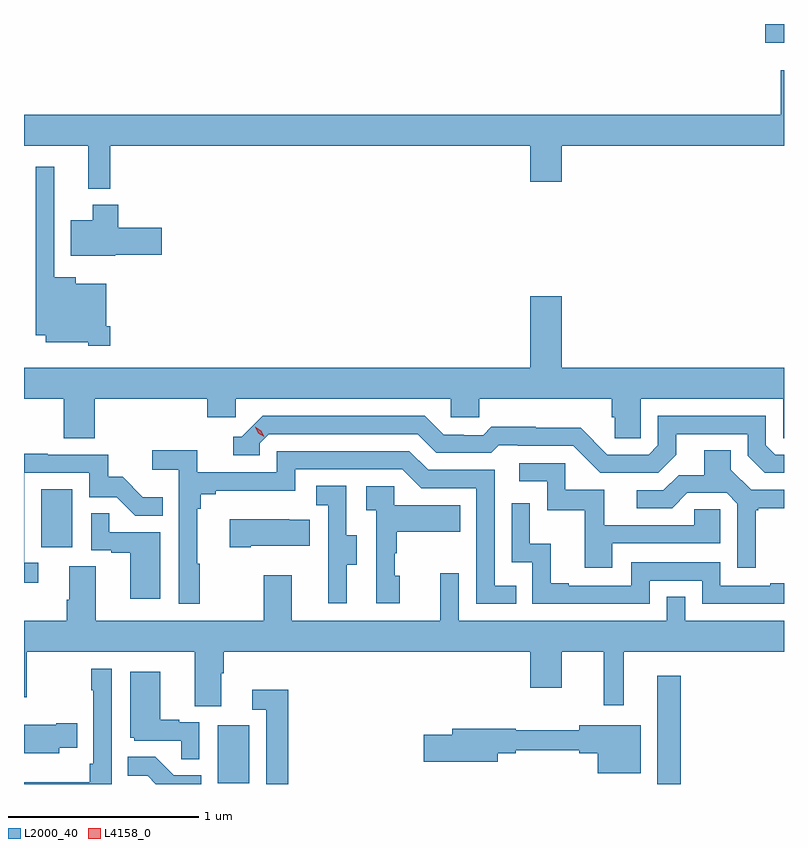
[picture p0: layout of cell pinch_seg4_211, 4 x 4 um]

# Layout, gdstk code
import gdstk
lib = gdstk.Library(unit=1e-6, precision=1e-09)
def R(c, l, rs):  # rectangles x0, y0, x1, y1
    for r in rs: c.add(gdstk.rectangle(r[:2], r[2:], *l))
def P(c, l, *ps):  # polygons
    for p in ps: c.add(gdstk.Polygon(p, *l))
L2000_40 = (2000, 40)
L4158_0 = (4158, 0)

pinch_seg4_211 = lib.new_cell('pinch_seg4_211')
R(pinch_seg4_211, L2000_40, [(1004.837,818.769,1004.959,819.34), (1002.524,818.772,1002.688,819.079), (1001.594,820.014,1001.758,820.321), (1005.404,822.671,1005.503,822.769)])
P(pinch_seg4_211, L2000_40, [(1001.957,822.128),(1004.168,822.128),(1004.168,821.94),(1004.332,821.94),(1004.332,822.128),(1005.503,822.128),(1005.503,822.526),(1005.487,822.526),(1005.487,822.292),(1001.503,822.292),(1001.503,822.128),(1001.84,822.128),(1001.84,821.903),(1001.957,821.903)],
  [(1001.957,821.179),(1001.935,821.179),(1001.935,821.401),(1001.776,821.401),(1001.776,821.437),(1001.661,821.437),(1001.661,822.019),(1001.564,822.019),(1001.564,821.132),(1001.618,821.132),(1001.618,821.093),(1001.841,821.093),(1001.841,821.075),(1001.957,821.075)],
  [(1001.982,821.555),(1002.229,821.555),(1002.229,821.697),(1001.999,821.697),(1001.999,821.818),(1001.864,821.818),(1001.864,821.737),(1001.75,821.737),(1001.75,821.549),(1001.982,821.549)],
  [(1001.876,820.796),(1002.467,820.796),(1002.467,820.698),(1002.618,820.698),(1002.618,820.796),(1003.749,820.796),(1003.749,820.698),(1003.899,820.698),(1003.899,820.796),(1004.597,820.796),(1004.597,820.698),(1004.611,820.698),(1004.611,820.588),(1004.748,820.588),(1004.748,820.796),(1005.498,820.796),(1005.498,820.588),(1005.503,820.588),(1005.503,820.96),(1004.332,820.96),(1004.332,821.335),(1004.168,821.335),(1004.168,820.96),(1001.503,820.96),(1001.503,820.796),(1001.711,820.796),(1001.711,820.588),(1001.876,820.588)],
  [(1004.935,820.501),(1004.935,820.611),(1005.312,820.611),(1005.312,820.497),(1005.402,820.407),(1005.503,820.407),(1005.503,820.503),(1005.456,820.503),(1005.408,820.551),(1005.408,820.707),(1004.838,820.707),(1004.838,820.551),(1004.79,820.503),(1004.574,820.503),(1004.432,820.645),(1004.196,820.645),(1004.196,820.648),(1003.963,820.648),(1003.921,820.605),(1003.818,820.605),(1003.818,820.608),(1003.711,820.608),(1003.612,820.707),(1002.759,820.707),(1002.648,820.596),(1002.605,820.596),(1002.605,820.5),(1002.744,820.5),(1002.744,820.563),(1002.792,820.611),(1003.575,820.611),(1003.674,820.512),(1003.963,820.512),(1004.002,820.551),(1004.101,820.551),(1004.101,820.548),(1004.394,820.548),(1004.535,820.407),(1004.841,820.407)],
  [(1005.355,820.209),(1005.367,820.209),(1005.367,820.22),(1005.503,820.22),(1005.503,820.317),(1005.33,820.317),(1005.223,820.424),(1005.223,820.526),(1005.083,820.526),(1005.083,820.394),(1004.948,820.394),(1004.868,820.314),(1004.727,820.314),(1004.727,820.221),(1004.914,820.221),(1004.995,820.302),(1005.201,820.302),(1005.258,820.245),(1005.258,819.906),(1005.355,819.906)],
  [(1002.427,819.929),(1002.415,819.929),(1002.415,820.217),(1002.434,820.217),(1002.434,820.294),(1002.511,820.294),(1002.511,820.313),(1002.93,820.313),(1002.93,820.425),(1003.494,820.425),(1003.593,820.326),(1003.884,820.326),(1003.884,819.717),(1004.093,819.717),(1004.093,819.813),(1003.98,819.813),(1003.98,820.422),(1003.63,820.422),(1003.531,820.521),(1002.834,820.521),(1002.834,820.41),(1002.416,820.41),(1002.416,820.526),(1002.177,820.526),(1002.177,820.424),(1002.318,820.424),(1002.318,819.717),(1002.427,819.717)],
  [(1001.578,819.933),(1001.505,819.933),(1001.505,820.407),(1001.847,820.407),(1001.847,820.278),(1001.991,820.278),(1002.089,820.18),(1002.233,820.18),(1002.233,820.279),(1002.129,820.279),(1002.022,820.386),(1001.946,820.386),(1001.946,820.503),(1001.627,820.503),(1001.627,820.508),(1001.503,820.508),(1001.503,819.828),(1001.578,819.828)],
  [(1004.599,820.035),(1005.168,820.035),(1005.168,820.215),(1005.031,820.215),(1005.031,820.131),(1004.557,820.131),(1004.557,820.317),(1004.352,820.317),(1004.352,820.458),(1004.109,820.458),(1004.109,820.362),(1004.256,820.362),(1004.256,820.209),(1004.455,820.209),(1004.455,819.906),(1004.599,819.906)],
  [(1003.201,819.922),(1003.255,819.922),(1003.255,820.077),(1003.2,820.077),(1003.2,820.34),(1003.041,820.34),(1003.041,820.237),(1003.104,820.237),(1003.104,819.933),(1003.103,819.933),(1003.103,819.72),(1003.201,819.72)],
  [(1003.48,819.864),(1003.455,819.864),(1003.455,819.983),(1003.465,819.983),(1003.465,820.097),(1003.799,820.097),(1003.799,820.237),(1003.452,820.237),(1003.452,820.335),(1003.305,820.335),(1003.305,820.211),(1003.356,820.211),(1003.356,819.72),(1003.48,819.72)],
  [(1004.796,819.84),(1005.072,819.84),(1005.072,819.717),(1005.503,819.717),(1005.503,819.826),(1005.431,819.826),(1005.431,819.813),(1005.168,819.813),(1005.168,819.936),(1004.7,819.936),(1004.7,819.813),(1004.371,819.813),(1004.371,819.826),(1004.276,819.826),(1004.276,820.034),(1004.166,820.034),(1004.166,820.246),(1004.07,820.246),(1004.07,819.936),(1004.178,819.936),(1004.178,819.717),(1004.796,819.717)],
  [(1002.22,820.095),(1001.951,820.095),(1001.951,820.193),(1001.856,820.193),(1001.856,819.999),(1001.963,819.999),(1001.963,819.987),(1002.062,819.987),(1002.062,819.744),(1002.22,819.744)],
  [(1002.697,820.022),(1003.007,820.022),(1003.007,820.159),(1002.899,820.159),(1002.899,820.162),(1002.585,820.162),(1002.585,820.015),(1002.697,820.015)],
  [(1001.881,819.914),(1001.741,819.914),(1001.741,819.74),(1001.729,819.74),(1001.729,819.628),(1001.503,819.628),(1001.503,819.225),(1001.517,819.225),(1001.517,819.464),(1002.401,819.464),(1002.401,819.178),(1002.541,819.178),(1002.541,819.352),(1002.554,819.352),(1002.554,819.464),(1004.168,819.464),(1004.168,819.276),(1004.332,819.276),(1004.332,819.464),(1004.555,819.464),(1004.555,819.183),(1004.659,819.183),(1004.659,819.464),(1005.503,819.464),(1005.503,819.628),(1004.982,819.628),(1004.982,819.755),(1004.886,819.755),(1004.886,819.628),(1003.791,819.628),(1003.791,819.877),(1003.694,819.877),(1003.694,819.628),(1002.913,819.628),(1002.913,819.868),(1002.766,819.868),(1002.766,819.628),(1001.881,819.628)],
  [(1001.964,819.376),(1001.856,819.376),(1001.856,819.263),(1001.868,819.263),(1001.868,818.875),(1001.848,818.875),(1001.848,818.779),(1001.503,818.779),(1001.503,818.769),(1001.964,818.769)],
  [(1002.426,819.093),(1002.32,819.093),(1002.32,819.106),(1002.22,819.106),(1002.22,819.361),(1002.062,819.361),(1002.062,819.012),(1002.084,819.012),(1002.084,818.997),(1002.331,818.997),(1002.331,818.899),(1002.426,818.899)],
  [(1002.893,819.265),(1002.705,819.265),(1002.705,819.159),(1002.777,819.159),(1002.777,818.769),(1002.893,818.769)],
  [(1001.689,818.96),(1001.783,818.96),(1001.783,819.09),(1001.672,819.09),(1001.672,819.082),(1001.503,819.082),(1001.503,818.93),(1001.689,818.93)],
  [(1004.749,819.079),(1004.426,819.079),(1004.426,819.051),(1004.092,819.051),(1004.092,819.061),(1003.757,819.061),(1003.757,819.027),(1003.608,819.027),(1003.608,818.885),(1003.996,818.885),(1003.996,818.932),(1004.092,818.932),(1004.092,818.947),(1004.426,818.947),(1004.426,818.932),(1004.522,818.932),(1004.522,818.825),(1004.749,818.825)],
  [(1002.435,818.814),(1002.291,818.814),(1002.193,818.912),(1002.049,818.912),(1002.049,818.813),(1002.153,818.813),(1002.197,818.769),(1002.435,818.769)])
P(pinch_seg4_211, L4158_0, [(1002.768,820.597),(1002.736,820.616),(1002.72,820.648),(1002.72,820.648),(1002.72,820.648),(1002.751,820.629),(1002.768,820.597),(1002.768,820.597)])

lib.write_gds('pinch_seg4_211.gds')
